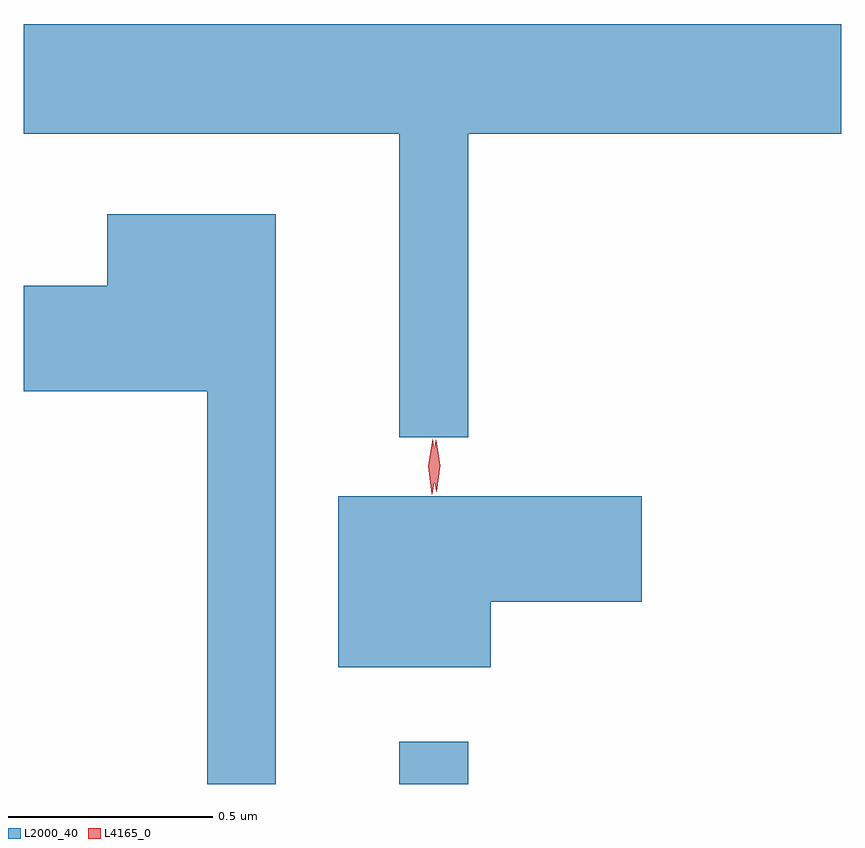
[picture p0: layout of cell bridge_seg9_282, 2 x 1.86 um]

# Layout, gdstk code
import gdstk
lib = gdstk.Library(unit=1e-6, precision=1e-09)
def R(c, l, rs):  # rectangles x0, y0, x1, y1
    for r in rs: c.add(gdstk.rectangle(r[:2], r[2:], *l))
def P(c, l, *ps):  # polygons
    for p in ps: c.add(gdstk.Polygon(p, *l))
L2000_40 = (2000, 40)
L4165_0 = (4165, 0)

bridge_seg9_282 = lib.new_cell('bridge_seg9_282')
R(bridge_seg9_282, L2000_40, [(921.231,2072.365,921.399,2072.468)])
P(bridge_seg9_282, L2000_40, [(921.399,2073.956),(922.312,2073.956),(922.312,2074.224),(920.312,2074.224),(920.312,2073.956),(921.231,2073.956),(921.231,2073.213),(921.399,2073.213)],
  [(920.929,2073.759),(920.516,2073.759),(920.516,2073.584),(920.312,2073.584),(920.312,2073.326),(920.761,2073.326),(920.761,2072.365),(920.929,2072.365)],
  [(921.454,2072.811),(921.824,2072.811),(921.824,2073.069),(921.081,2073.069),(921.081,2072.651),(921.454,2072.651)])
P(bridge_seg9_282, L4165_0, [(921.31,2073.074),(921.302,2073.142),(921.312,2073.21),(921.312,2073.21),(921.313,2073.21),(921.322,2073.142),(921.311,2073.074),(921.311,2073.074)],
  [(921.322,2073.08),(921.321,2073.081),(921.311,2073.144),(921.32,2073.206),(921.32,2073.207),(921.321,2073.206),(921.331,2073.144),(921.322,2073.081)])

lib.write_gds('bridge_seg9_282.gds')
